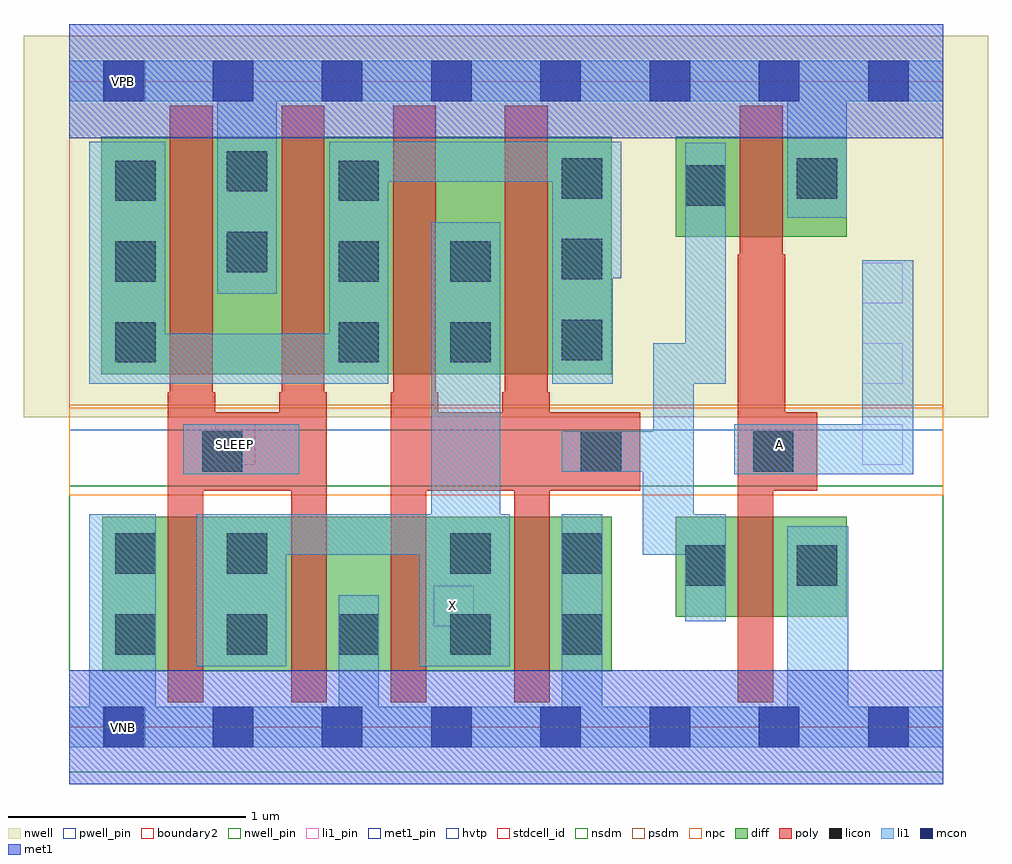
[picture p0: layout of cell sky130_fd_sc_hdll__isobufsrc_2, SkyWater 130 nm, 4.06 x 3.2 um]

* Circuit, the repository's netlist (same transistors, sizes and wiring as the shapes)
* Copyright 2020 The SkyWater PDK Authors
*
* Licensed under the Apache License, Version 2.0 (the "License");
* you may not use this file except in compliance with the License.
* You may obtain a copy of the License at
*
*     https://www.apache.org/licenses/LICENSE-2.0
*
* Unless required by applicable law or agreed to in writing, software
* distributed under the License is distributed on an "AS IS" BASIS,
* WITHOUT WARRANTIES OR CONDITIONS OF ANY KIND, either express or implied.
* See the License for the specific language governing permissions and
* limitations under the License.
*
* SPDX-License-Identifier: Apache-2.0

.SUBCKT sky130_fd_sc_hdll__isobufsrc_2 A SLEEP VGND VNB VPB VPWR X
*.PININFO A:I SLEEP:I VGND:I VNB:I VPB:I VPWR:I X:O
MMP0 VPWR SLEEP sndPA VPB sky130_fd_pr__pfet_01v8_hvt m=2 w=1.0U l=0.18U mult=1
+ sa=0.265 sb=0.265 sd=0.28 area=0.063 perim=1.14
MMP1 sndPA Ab X VPB sky130_fd_pr__pfet_01v8_hvt m=2 w=1.0U l=0.18U mult=1 sa=0.265
+ sb=0.265 sd=0.28 area=0.063 perim=1.14
MMIP1 Ab A VPWR VPB sky130_fd_pr__pfet_01v8_hvt m=1 w=0.42U l=0.18U mult=1 sa=0.265
+ sb=0.265 sd=0.28 area=0.063 perim=1.14
MMN0 X SLEEP VGND VNB sky130_fd_pr__nfet_01v8 m=2 w=0.65U l=0.15U mult=1 sa=0.265
+ sb=0.265 sd=0.28 area=0.063 perim=1.14
MMN1 X Ab VGND VNB sky130_fd_pr__nfet_01v8 m=2 w=0.65U l=0.15U mult=1 sa=0.265
+ sb=0.265 sd=0.28 area=0.063 perim=1.14
MMIN1 Ab A VGND VNB sky130_fd_pr__nfet_01v8 m=1 w=0.42U l=0.15U mult=1 sa=0.265
+ sb=0.265 sd=0.28 area=0.063 perim=1.14
.ENDS sky130_fd_sc_hdll__isobufsrc_2

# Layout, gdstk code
import gdstk
lib = gdstk.Library(unit=1e-6, precision=1e-09)
def R(c, l, rs):  # rectangles x0, y0, x1, y1
    for r in rs: c.add(gdstk.rectangle(r[:2], r[2:], *l))
def A(c, l, x, y, w, h, nx, ny, dx, dy):  # array of equal rectangles
    R(c, l, [(x+i*dx, y+j*dy, x+i*dx+w, y+j*dy+h) for i in range(nx) for j in range(ny)])
def P(c, l, *ps):  # polygons
    for p in ps: c.add(gdstk.Polygon(p, *l))
nwell_pin = (64, 16)
nwell = (64, 20)
diff = (65, 20)
poly = (66, 20)
licon = (66, 44)
li1_pin = (67, 16)
li1 = (67, 20)
mcon = (67, 44)
met1_pin = (68, 16)
met1 = (68, 20)
hvtp = (78, 44)
stdcell_id = (81, 4)
nsdm = (93, 44)
psdm = (94, 20)
npc = (95, 20)
pwell_pin = (122, 16)
boundary2 = (236, 0)

sky130_fd_sc_hdll__isobu = lib.new_cell('sky130_fd_sc_hdll__isobufsrc_2')
R(sky130_fd_sc_hdll__isobu, nwell_pin, [(0.15,2.635,0.32,2.805)])
R(sky130_fd_sc_hdll__isobu, nwell, [(-0.19,1.305,3.87,2.91)])
R(sky130_fd_sc_hdll__isobu, diff, [(0.14,0.235,2.285,0.885), (2.555,0.465,3.275,0.885), (0.135,1.485,2.285,2.485), (2.555,2.065,3.275,2.485)])
P(sky130_fd_sc_hdll__isobu, poly, [(1.085,1.41),(1.075,1.41),(1.075,2.615),(0.895,2.615),(0.895,1.41),(0.885,1.41),(0.885,1.325),(0.615,1.325),(0.615,1.41),(0.605,1.41),(0.605,2.615),(0.425,2.615),(0.425,1.41),(0.415,1.41),(0.415,0.105),(0.565,0.105),(0.565,0.995),(0.935,0.995),(0.935,0.105),(1.085,0.105)],
  [(2.405,1.325),(2.025,1.325),(2.025,1.41),(2.015,1.41),(2.015,2.615),(1.835,2.615),(1.835,1.41),(1.825,1.41),(1.825,1.325),(1.555,1.325),(1.555,1.41),(1.545,1.41),(1.545,2.615),(1.365,2.615),(1.365,1.41),(1.355,1.41),(1.355,0.105),(1.505,0.105),(1.505,0.995),(1.875,0.995),(1.875,0.105),(2.025,0.105),(2.025,0.995),(2.405,0.995)],
  [(3.15,1.325),(3.015,1.325),(3.015,1.99),(3.005,1.99),(3.005,2.615),(2.825,2.615),(2.825,1.99),(2.815,1.99),(2.815,0.105),(2.965,0.105),(2.965,0.995),(3.15,0.995)])
A(sky130_fd_sc_hdll__isobu, licon, 0.195, 0.305, 0.17, 0.17, 5, 1, 0.47, 0)
A(sky130_fd_sc_hdll__isobu, licon, 0.195, 1.535, 0.17, 0.17, 1, 3, 0, 0.34)
A(sky130_fd_sc_hdll__isobu, licon, 1.135, 1.535, 0.17, 0.17, 1, 3, 0, 0.34)
A(sky130_fd_sc_hdll__isobu, licon, 2.075, 1.545, 0.17, 0.17, 1, 3, 0, 0.34)
R(sky130_fd_sc_hdll__isobu, licon, [(2.595,0.595,2.765,0.765), (3.065,0.595,3.235,0.765), (0.195,0.645,0.365,0.815), (0.665,0.645,0.835,0.815), (1.605,0.645,1.775,0.815), (2.075,0.645,2.245,0.815), (0.56,1.075,0.73,1.245), (2.155,1.075,2.325,1.245), (2.88,1.075,3.05,1.245), (1.605,1.535,1.775,1.705), (1.605,1.875,1.775,2.045), (0.665,1.915,0.835,2.085), (2.595,2.195,2.765,2.365), (3.065,2.225,3.235,2.395), (0.665,2.255,0.835,2.425)])
A(sky130_fd_sc_hdll__isobu, li1_pin, 3.34, 1.105, 0.17, 0.17, 1, 3, 0, 0.34)
R(sky130_fd_sc_hdll__isobu, li1_pin, [(1.535,0.425,1.705,0.595), (0.615,1.105,0.785,1.275)])
R(sky130_fd_sc_hdll__isobu, li1, [(0.48,1.065,0.97,1.275)])
P(sky130_fd_sc_hdll__isobu, li1, [(2.8,1.065),(2.8,1.275),(3.34,1.275),(3.34,1.965),(3.555,1.965),(3.555,1.065)],
  [(2.765,0.895),(2.63,0.895),(2.63,1.445),(2.765,1.445),(2.765,2.46),(2.595,2.46),(2.595,1.615),(2.46,1.615),(2.46,1.245),(2.075,1.245),(2.075,1.075),(2.415,1.075),(2.415,0.725),(2.595,0.725),(2.595,0.445),(2.765,0.445)],
  [(3.68,2.805),(0,2.805),(0,2.635),(0.625,2.635),(0.625,1.825),(0.875,1.825),(0.875,2.635),(3.025,2.635),(3.025,2.145),(3.275,2.145),(3.275,2.635),(3.68,2.635)],
  [(1.855,0.895),(1.815,0.895),(1.815,2.125),(1.525,2.125),(1.525,0.895),(0.535,0.895),(0.535,0.255),(0.915,0.255),(0.915,0.725),(1.475,0.725),(1.475,0.255),(1.855,0.255)],
  [(3.68,0.085),(3.28,0.085),(3.28,0.845),(3.025,0.845),(3.025,0.085),(2.245,0.085),(2.245,0.895),(2.075,0.895),(2.075,0.085),(1.305,0.085),(1.305,0.555),(1.135,0.555),(1.135,0.085),(0.365,0.085),(0.365,0.895),(0.085,0.895),(0.085,0.085),(0,0.085),(0,-0.085),(3.68,-0.085)],
  [(2.325,2.465),(1.095,2.465),(1.095,1.655),(0.405,1.655),(0.405,2.465),(0.085,2.465),(0.085,1.445),(1.345,1.445),(1.345,2.295),(2.035,2.295),(2.035,1.445),(2.29,1.445),(2.29,1.89),(2.325,1.89)])
A(sky130_fd_sc_hdll__isobu, mcon, 0.145, -0.085, 0.17, 0.17, 8, 2, 0.46, 2.72)
R(sky130_fd_sc_hdll__isobu, met1_pin, [(0.15,-0.085,0.32,0.085), (0.15,2.635,0.32,2.805)])
R(sky130_fd_sc_hdll__isobu, met1, [(0,-0.24,3.68,0.24), (0,2.48,3.68,2.96)])
R(sky130_fd_sc_hdll__isobu, hvtp, [(0,1.25,3.68,2.72)])
R(sky130_fd_sc_hdll__isobu, stdcell_id, [(0,0,3.68,2.72)])
R(sky130_fd_sc_hdll__isobu, nsdm, [(0,-0.19,3.68,1.015)])
R(sky130_fd_sc_hdll__isobu, psdm, [(0,1.355,3.68,2.91)])
R(sky130_fd_sc_hdll__isobu, npc, [(0,0.975,3.68,1.345)])
R(sky130_fd_sc_hdll__isobu, pwell_pin, [(0.15,-0.085,0.32,0.085)])
R(sky130_fd_sc_hdll__isobu, boundary2, [(0,0,3.68,2.72)])
sky130_fd_sc_hdll__isobu.add(gdstk.Label('A', (2.99,1.19), layer=67, texttype=5))
sky130_fd_sc_hdll__isobu.add(gdstk.Label('SLEEP', (0.695,1.19), layer=67, texttype=5))
sky130_fd_sc_hdll__isobu.add(gdstk.Label('X', (1.615,0.51), layer=67, texttype=5))
sky130_fd_sc_hdll__isobu.add(gdstk.Label('VPB', (0.23,2.72), layer=64, texttype=5))
sky130_fd_sc_hdll__isobu.add(gdstk.Label('VNB', (0.23,0), layer=64, texttype=59))
sky130_fd_sc_hdll__isobu.add(gdstk.Label('VGND', (0.23,0), layer=68, texttype=5))
sky130_fd_sc_hdll__isobu.add(gdstk.Label('VPWR', (0.23,2.72), layer=68, texttype=5))
sky130_fd_sc_hdll__isobu.add(gdstk.Label('sky130_fd_sc_hdll__lpflow_isobufsrc_2', (0,0), layer=83, texttype=44))

lib.write_gds('sky130_fd_sc_hdll__isobufsrc_2.gds')
